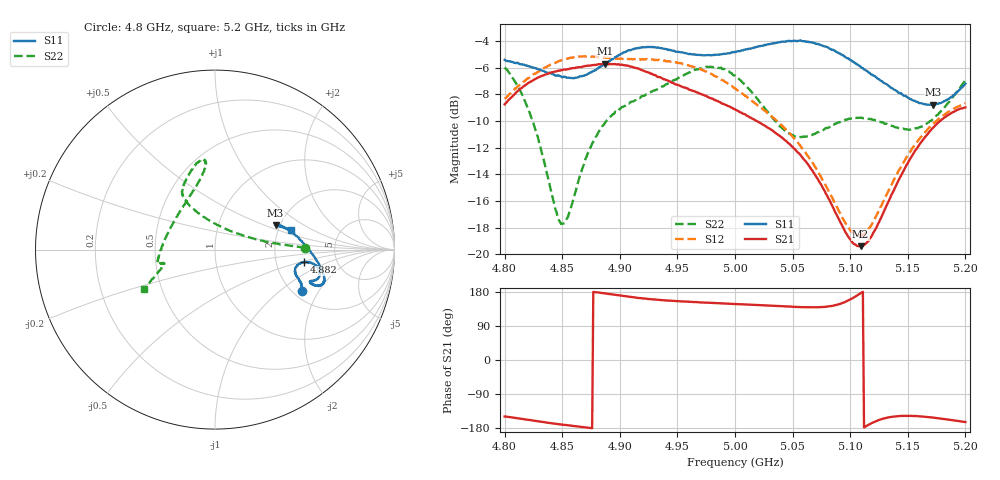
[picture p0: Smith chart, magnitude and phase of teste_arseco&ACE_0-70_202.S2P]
! Network Analyzer HP8722D
! Hewlett-Packard
! Data name: Linha & Wilkinson
! Saver's name: Rodrigo Anjos
! Comments: Teste da utilização de aquisição
! continua pelo VNA HP8722D
! Time and date: 8/5/2025 14:26
!  Frequency  S11  S21  S12  S22
# HZ  S  MA R 50
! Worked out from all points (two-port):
!   401 points, 4.8 GHz to 5.2 GHz, reference 50 ohm
!   highest |S21| = -5.69 dB at 4.887 GHz (marker M1); lowest = -19.4 dB at 5.109 GHz (marker M2)
!   |S21| within 3 dB of the highest: 4.801 GHz to 4.989 GHz (188.4 MHz wide, 3.85 % of centre)
!   lowest |S11| = -8.8 dB at 5.172 GHz (marker M3), VSWR 2.15, Z = 94.7 + j30.1 ohm
!   |S11| at or under -10 dB: nowhere
!   |S22| runs from -17.7 to -5.9 dB; largest |S21 - S12| = 1.1
!   S11 on the Smith chart (normalised r, x): 4.8 GHz: 2.24, -1.45; 4.882 GHz: 2.91, -0.55; 5.2 GHz: 2.34, +0.64
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4.8e9  0.5373 -25.3  0.3657 -149.1  0.3841 10.4  0.5027 1.2
4.812e9  0.5217 -22.2  0.4124 -154.0  0.4289 8.6  0.4226 2.8
4.823e9  0.5059 -20.5  0.446 -158.9  0.4653 7.0  0.3274 6.3
4.848e9  0.4668 -16.3  0.4887 -169.9  0.5327 2.9  0.1325 54.8
4.855e9  0.4607 -14.2  0.4956 -172.5  0.5435 1.8  0.1382 85.1
4.867e9  0.4661 -10.7  0.505 -176.9  0.5524 0.1  0.2072 111.8
4.882e9  0.5034 -8.1  0.5177 177.8  0.5505 -0.9  0.2895 120.2
4.887e9  0.5188 -7.8  0.5192 175.8  0.5487 -1.0  0.3109 120.8
4.91e9  0.5856 -10.6  0.5063 166.2  0.5413 -0.8  0.374 119.3
4.934e9  0.5959 -15.8  0.463 158.5  0.5373 -1.5  0.4203 112.6
4.974e9  0.5579 -18.6  0.3939 151.5  0.4869 -5.3  0.5023 99.3
5e9  0.5756 -19.5  0.3503 147.5  0.42 -5.4  0.4689 96.7
5.019e9  0.6004 -19.6  0.3164 145.1  0.3647 -2.6  0.3848 104.1
5.045e9  0.6305 -17.5  0.265 141.3  0.2921 3.0  0.2882 133.0
5.067e9  0.624 -13.4  0.2069 139.0  0.2219 9.4  0.2805 164.6
5.098e9  0.544 -2.7  0.1169 156.7  0.1271 37.5  0.3214 -170.4
5.109e9  0.5053 2.4  0.1073 175.9  0.1175 59.2  0.3258 -167.1
5.118e9  0.4736 6.9  0.1159 -167.7  0.128 76.5  0.3225 -166.3
5.134e9  0.4272 14.5  0.1602 -151.0  0.1759 94.7  0.3064 -165.8
5.152e9  0.3828 20.9  0.2279 -147.4  0.242 101.2  0.2939 -164.6
5.172e9  0.3646 22.2  0.2988 -152.0  0.3087 102.3  0.3226 -160.0
5.2e9  0.4368 14.8  0.3561 -163.7  0.3692 102.6  0.4507 -150.7
